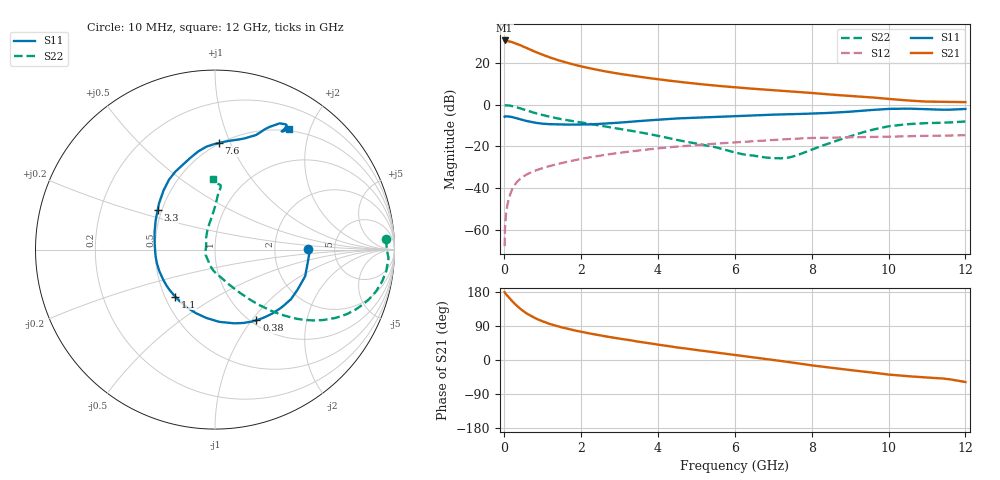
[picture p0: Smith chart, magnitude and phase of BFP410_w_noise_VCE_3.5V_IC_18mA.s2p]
! Infineon Technologies  Discrete & RF Semiconductors
! BFP410
! VCE =  3.5 V,  IC =  18 mA
! Common Emitter S-Parameters:  Nov 2015
# GHz  S  MA  R  50
!  f  S11  S21  S12  S22
! GHz  MAG  ANG  MAG  ANG  MAG  ANG  MAG  ANG
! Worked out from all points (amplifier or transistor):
!   243 points, 10 MHz to 12 GHz, reference 50 ohm
!   highest |S21| = 30.8 dB at 10 MHz (marker M1)
!   |S21| within 3 dB of that: start of sweep to 506.4 MHz
!   unconditionally stable (mu >= 1): start of sweep to 18.03 MHz; 1.974 GHz to end of sweep
!   at 240 MHz: K = 0.27, MSG = 34.7 dB, |S12| = -39.6 dB
!   at 1.84 GHz: K = 0.97, MSG = 22.9 dB, |S12| = -26.7 dB
!   at 12 GHz: K = 1.03, MAG = 7.0 dB, |S12| = -14.7 dB
!   lowest NFmin = 1.63 dB at 900 MHz
!   S11 on the Smith chart (normalised r, x): 10 MHz: 3.13, +0.04; 380 MHz: 1.06, -1.05; 1.1 GHz: 0.56, -0.33; 3.3 GHz: 0.47, +0.25; 7.6 GHz: 0.49, +0.91; 12 GHz: 0.48, +1.69
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0.01  0.5156 0.5  34.79 178.9  0.0004 99.2  0.9556 3.5
0.02  0.5261 -2.1  34.42 176.6  0.0011 87.2  0.9569 0.0
0.05  0.5223 -7.2  33.89 173.0  0.0025 83.3  0.9679 -2.7
0.1  0.5237 -16.5  33.5 167.5  0.0047 81.1  0.9619 -7.0
0.2  0.5057 -33.0  31.85 156.2  0.009 76.3  0.9281 -14.3
0.3  0.4777 -48.4  29.63 145.8  0.0128 71.9  0.8783 -20.4
0.38  0.4561 -59.6  27.67 138.5  0.0155 69.1  0.8341 -24.6
0.5  0.4247 -75.3  24.79 128.8  0.0189 65.6  0.7679 -29.8
0.6  0.4033 -86.6  22.52 121.8  0.0214 63.6  0.7174 -33.2
0.7  0.3839 -97.2  20.52 116.0  0.0237 62.0  0.6714 -36.0
0.9  0.3586 -115.4  17.16 106.1  0.028 60.1  0.5953 -40.3
1.1  0.3434 -130.4  14.56 98.2  0.0319 59.0  0.5343 -43.5
1.48  0.3325 -152.7  11.14 86.6  0.0393 57.5  0.4506 -48.0
2.02  0.333 -176.3  8.235 74.2  0.0502 55.0  0.3723 -52.8
2.6  0.3508 163.6  6.372 63.0  0.0618 51.4  0.3025 -57.7
3.3  0.3887 145.2  5.001 51.8  0.0755 46.3  0.236 -64.5
4.1  0.4423 129.4  3.966 39.2  0.0911 40.0  0.1707 -74.9
6.1  0.5334 104.1  2.565 12.0  0.1257 23.2  0.0678 -128.2
7.6  0.5947 88.0  2.035 -8.2  0.1526 9.2  0.0599 144.7
8.2  0.6198 79.9  1.842 -16.6  0.1596 2.4  0.0975 118.2
10.2  0.7957 61.7  1.326 -40.1  0.1716 -13.9  0.3175 86.2
12  0.788 58.4  1.151 -58.1  0.1846 -29.6  0.3941 91.7
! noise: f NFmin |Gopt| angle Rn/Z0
0.45  1.66  0.11  -153  0.17
0.9  1.63  0.12  -155  0.16
1.8  1.76  0.16  -140  0.17
2.4  1.75  0.21  -123  0.24
5.5  2.63  0.42  -104  0.39
10  3.74  0.69  -46  2.37
